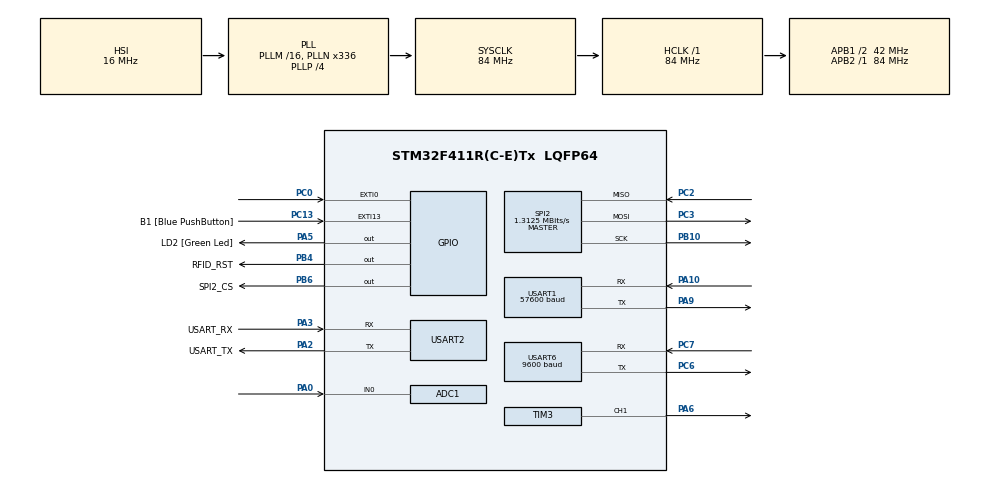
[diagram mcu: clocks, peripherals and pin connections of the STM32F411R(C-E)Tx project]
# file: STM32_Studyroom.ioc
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ADC1.Channel-0\#ChannelRegularConversion=ADC_CHANNEL_0
ADC1.ContinuousConvMode=ENABLE
ADC1.NbrOfConversionFlag=1
ADC1.Rank-0\#ChannelRegularConversion=1
ADC1.SamplingTime-0\#ChannelRegularConversion=ADC_SAMPLETIME_480CYCLES
ADC1.master=1
Mcu.Family=STM32F4
Mcu.Name=STM32F411R(C-E)Tx
Mcu.Package=LQFP64
NVIC.PriorityGroup=NVIC_PRIORITYGROUP_0
NVIC.USART6_IRQn=true\:0\:0\:false\:false\:true\:true\:true\:true
PA0-WKUP.Signal=ADCx_IN0
PA10.Mode=Asynchronous
PA10.Signal=USART1_RX
PA13.GPIO_Label=TMS
PA13.Mode=Serial_Wire
PA13.Signal=SYS_JTMS-SWDIO
PA14.GPIO_Label=TCK
PA14.Mode=Serial_Wire
PA14.Signal=SYS_JTCK-SWCLK
PA2.GPIO_Label=USART_TX
PA2.Mode=Asynchronous
PA2.Signal=USART2_TX
PA3.GPIO_Label=USART_RX
PA3.Mode=Asynchronous
PA3.Signal=USART2_RX
PA5.GPIO_Label=LD2 [Green Led]
PA5.Signal=GPIO_Output
PA6.Signal=S_TIM3_CH1
PA9.Mode=Asynchronous
PA9.Signal=USART1_TX
PB10.Mode=Full_Duplex_Master
PB10.Signal=SPI2_SCK
PB3.GPIO_Label=SWO
PB3.Signal=SYS_JTDO-SWO
PB4.GPIO_Label=RFID_RST
PB4.PinState=GPIO_PIN_SET
PB4.Signal=GPIO_Output
PB6.GPIO_Label=SPI2_CS
PB6.Signal=GPIO_Output
PC0.Signal=GPXTI0
PC13-ANTI_TAMP.GPIO_Label=B1 [Blue PushButton]
PC13-ANTI_TAMP.GPIO_ModeDefaultEXTI=GPIO_MODE_IT_FALLING
PC13-ANTI_TAMP.Signal=GPXTI13
PC14-OSC32_IN.Mode=LSE-External-Oscillator
PC14-OSC32_IN.Signal=RCC_OSC32_IN
PC15-OSC32_OUT.Mode=LSE-External-Oscillator
PC15-OSC32_OUT.Signal=RCC_OSC32_OUT
PC2.Mode=Full_Duplex_Master
PC2.Signal=SPI2_MISO
PC3.Mode=Full_Duplex_Master
PC3.Signal=SPI2_MOSI
PC6.Mode=Asynchronous
PC6.Signal=USART6_TX
PC7.Mode=Asynchronous
PC7.Signal=USART6_RX
PH0\ -\ OSC_IN.Mode=HSE-External-Clock-Source
PH0\ -\ OSC_IN.Signal=RCC_OSC_IN
PH1\ -\ OSC_OUT.Mode=HSE-External-Clock-Source
PH1\ -\ OSC_OUT.Signal=RCC_OSC_OUT
ProjectManager.HeapSize=0x200
ProjectManager.StackSize=0x400
ProjectManager.TargetToolchain=Makefile
RCC.48MHZClocksFreq_Value=84000000
RCC.AHBFreq_Value=84000000
RCC.APB1CLKDivider=RCC_HCLK_DIV2
RCC.APB1Freq_Value=42000000
RCC.APB1TimFreq_Value=84000000
RCC.APB2Freq_Value=84000000
RCC.APB2TimFreq_Value=84000000
RCC.CortexFreq_Value=84000000
RCC.FLatency-AdvancedSettings=FLASH_LATENCY_2
RCC.HCLKFreq_Value=84000000
RCC.HSE_VALUE=8000000
RCC.HSI_VALUE=16000000
RCC.PLLN=336
RCC.PLLP=RCC_PLLP_DIV4
RCC.SYSCLKFreq_VALUE=84000000
RCC.SYSCLKSource=RCC_SYSCLKSOURCE_PLLCLK
RCC.VCOOutputFreq_Value=336000000
SH.ADCx_IN0.0=ADC1_IN0,IN0
SH.S_TIM3_CH1.0=TIM3_CH1,PWM Generation1 CH1
SPI2.BaudRatePrescaler=SPI_BAUDRATEPRESCALER_32
SPI2.CalculateBaudRate=1.3125 MBits/s
SPI2.Direction=SPI_DIRECTION_2LINES
SPI2.Mode=SPI_MODE_MASTER
SPI2.VirtualType=VM_MASTER
TIM3.Channel-PWM\ Generation1\ CH1=TIM_CHANNEL_1
TIM3.Period=19999
TIM3.Prescaler=83
TIM3.Pulse-PWM\ Generation1\ CH1=1000
USART1.BaudRate=57600
USART1.VirtualMode=VM_ASYNC
USART2.VirtualMode=VM_ASYNC
USART6.BaudRate=9600
USART6.VirtualMode=VM_ASYNC
board=NUCLEO-F411RE

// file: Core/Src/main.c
/* USER CODE BEGIN Header */
/**
  ******************************************************************************
  * @file           : main.c
  * @brief          : Main program body
  ******************************************************************************
  * @attention
  *
  * Copyright (c) 2026 STMicroelectronics.
  * All rights reserved.
  *
  * This software is licensed under terms that can be found in the LICENSE file
  * in the root directory of this software component.
  * If no LICENSE file comes with this software, it is provided AS-IS.
  *
  ******************************************************************************
  */
/* USER CODE END Header */
#include "main.h"
#include "adc.h"
#include "spi.h"
#include "tim.h"
#include "usart.h"
#include "gpio.h"

/* USER CODE BEGIN Includes */
#include "cli.h"
#include "rfid.h"
#include "servo.h"
#include "esp01.h"
/* USER CODE END Includes */

void SystemClock_Config(void);

int main(void)
{

  /* MCU Configuration--------------------------------------------------------*/

  /* Reset of all peripherals, Initializes the Flash interface and the Systick. */
  HAL_Init();

  /* Configure the system clock */
  SystemClock_Config();

  /* Initialize all configured peripherals */
  MX_GPIO_Init();
  MX_ADC1_Init();
  MX_SPI2_Init();
  MX_USART1_UART_Init();
  MX_USART2_UART_Init();
  MX_USART6_UART_Init();
  MX_TIM3_Init();
  /* USER CODE BEGIN 2 */
  CLI_Init();
  RFID_Init();
  Servo_Init();

  /* USART2(ST-LINK VCP)로 직접 출력하는 부팅 로그 전용 헬퍼.
     cli.c의 CLI_Print는 그 파일 안에서만 쓸 수 있는(static) 함수라 여기선 못 씀. */
  {
    const char *msg;

    /* 부팅 시 WiFi + 지문 출결 서버(TCP)에 미리 연결해둠.
       이렇게 해두면 CLI 메뉴 2번(지문 인식)에서 매번 4번(WiFi 테스트)을
       먼저 실행할 필요 없이 바로 서버 전송까지 됨.
       실패해도 CLI 자체는 계속 쓸 수 있도록 결과만 출력하고 넘어감. */
    msg = "\r\n[부팅] WiFi/서버 자동 연결 시도 중...\r\n";
    HAL_UART_Transmit(&huart2, (uint8_t *)msg, strlen(msg), HAL_MAX_DELAY);

    ESP01_Init();
    if (ESP01_ConnectWiFi(WIFI_SSID, WIFI_PASSWORD) == ESP01_OK) {
        msg = "[부팅] WiFi 연결 성공\r\n";
        HAL_UART_Transmit(&huart2, (uint8_t *)msg, strlen(msg), HAL_MAX_DELAY);

        if (ESP01_ConnectServer(SERVER_IP, SERVER_PORT) == ESP01_OK) {
            msg = "[부팅] 지문 출결 서버 연결 성공\r\n";
        } else {
            msg = "[부팅] 지문 출결 서버 연결 실패 (메뉴 4번으로 재시도 가능)\r\n";
        }
        HAL_UART_Transmit(&huart2, (uint8_t *)msg, strlen(msg), HAL_MAX_DELAY);
    } else {
        msg = "[부팅] WiFi 연결 실패 (메뉴 4번으로 재시도 가능)\r\n";
        HAL_UART_Transmit(&huart2, (uint8_t *)msg, strlen(msg), HAL_MAX_DELAY);
    }
  }
  /* USER CODE END 2 */

  /* Infinite loop */
  /* USER CODE BEGIN WHILE */
  while (1)
  {
    CLI_Run();
    /* USER CODE END WHILE */

  }
}

void SystemClock_Config(void)
{
  RCC_OscInitTypeDef RCC_OscInitStruct = {0};
  RCC_ClkInitTypeDef RCC_ClkInitStruct = {0};

  /** Configure the main internal regulator output voltage
  */
  __HAL_RCC_PWR_CLK_ENABLE();
  __HAL_PWR_VOLTAGESCALING_CONFIG(PWR_REGULATOR_VOLTAGE_SCALE1);

  /** Initializes the RCC Oscillators according to the specified parameters
  * in the RCC_OscInitTypeDef structure.
  */
  RCC_OscInitStruct.OscillatorType = RCC_OSCILLATORTYPE_HSI;
  RCC_OscInitStruct.HSIState = RCC_HSI_ON;
  RCC_OscInitStruct.HSICalibrationValue = RCC_HSICALIBRATION_DEFAULT;
  RCC_OscInitStruct.PLL.PLLState = RCC_PLL_ON;
  RCC_OscInitStruct.PLL.PLLSource = RCC_PLLSOURCE_HSI;
  RCC_OscInitStruct.PLL.PLLM = 16;
  RCC_OscInitStruct.PLL.PLLN = 336;
  RCC_OscInitStruct.PLL.PLLP = RCC_PLLP_DIV4;
  RCC_OscInitStruct.PLL.PLLQ = 4;
  if (HAL_RCC_OscConfig(&RCC_OscInitStruct) != HAL_OK)
  {
    Error_Handler();
  }

  /** Initializes the CPU, AHB and APB buses clocks
  */
  RCC_ClkInitStruct.ClockType = RCC_CLOCKTYPE_HCLK|RCC_CLOCKTYPE_SYSCLK
                              |RCC_CLOCKTYPE_PCLK1|RCC_CLOCKTYPE_PCLK2;
  RCC_ClkInitStruct.SYSCLKSource = RCC_SYSCLKSOURCE_PLLCLK;
  RCC_ClkInitStruct.AHBCLKDivider = RCC_SYSCLK_DIV1;
  RCC_ClkInitStruct.APB1CLKDivider = RCC_HCLK_DIV2;
  RCC_ClkInitStruct.APB2CLKDivider = RCC_HCLK_DIV1;

  if (HAL_RCC_ClockConfig(&RCC_ClkInitStruct, FLASH_LATENCY_2) != HAL_OK)
  {
    Error_Handler();
  }
}

void Error_Handler(void)
{
  __disable_irq();
  while (1)
  {
  }
}
